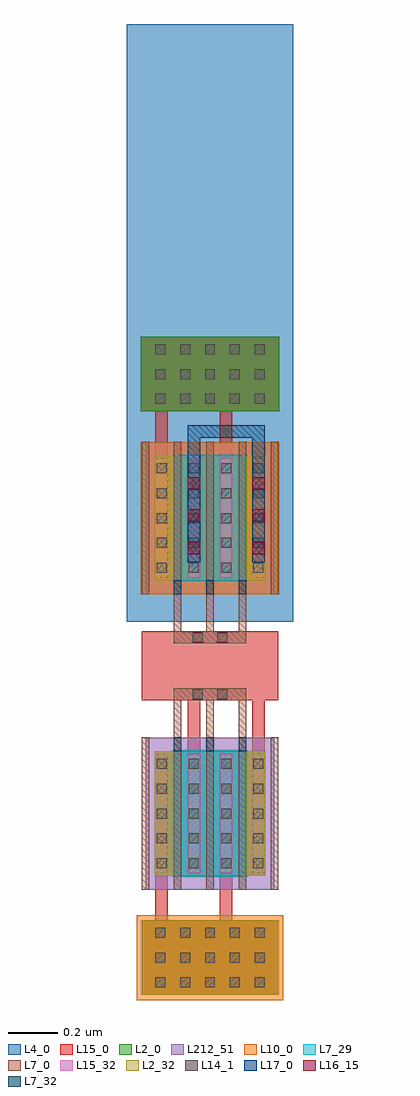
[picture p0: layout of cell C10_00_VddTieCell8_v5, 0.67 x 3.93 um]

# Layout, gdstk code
import gdstk
lib = gdstk.Library(unit=1e-6, precision=1e-09)
def R(c, l, rs):  # rectangles x0, y0, x1, y1
    for r in rs: c.add(gdstk.rectangle(r[:2], r[2:], *l))
def A(c, l, x, y, w, h, nx, ny, dx, dy):  # array of equal rectangles
    R(c, l, [(x+i*dx, y+j*dy, x+i*dx+w, y+j*dy+h) for i in range(nx) for j in range(ny)])
L2_0 = (2, 0)
L2_32 = (2, 32)
L4_0 = (4, 0)
L7_0 = (7, 0)
L7_29 = (7, 29)
L7_32 = (7, 32)
L10_0 = (10, 0)
L14_1 = (14, 1)
L15_0 = (15, 0)
L15_32 = (15, 32)
L16_15 = (16, 15)
L17_0 = (17, 0)
L212_51 = (212, 51)

c10_00_vddtiecell8_v5_sr = lib.new_cell('C10_00_VddTieCell8_v5:SRF_TieCellNMOSRouted:SRF_Nmos:SRF_Gate_ViaM0Mx:SRF_ViaM0M1')
R(c10_00_vddtiecell8_v5_sr, L7_0, [(-0.01,-0.004,0.15,0.044)])
R(c10_00_vddtiecell8_v5_sr, L14_1, [(0,0,0.04,0.04), (0.1,0,0.14,0.04)])
R(c10_00_vddtiecell8_v5_sr, L15_0, [(-0.021,-0.005,0.161,0.045)])

c_c10_00_vddtiecell8_v5_sr = lib.new_cell('C10_00_VddTieCell8_v5:SRF_TieCellNMOSRouted:SRF_Nmos:SRF_Gate_ViaM0Mx')
c_c10_00_vddtiecell8_v5_sr.add(gdstk.Reference(c10_00_vddtiecell8_v5_sr, (-0.07,-0.02)))

c_c10_00_vddtiecell8_v5_sr_ = lib.new_cell('C10_00_VddTieCell8_v5:SRF_TieCellNMOSRouted:SRF_Nmos')
R(c_c10_00_vddtiecell8_v5_sr_, L2_0, [(-0.078,0.057,0.368,0.557)])
R(c_c10_00_vddtiecell8_v5_sr_, L2_32, [(-0.078,0.057,0,0.557), (0.29,0.057,0.368,0.557)])
A(c_c10_00_vddtiecell8_v5_sr_, L7_0, -0.13, 0, 0.03, 0.614, 5, 1, 0.13, 0)
A(c_c10_00_vddtiecell8_v5_sr_, L7_0, 0, 0.614, 0.03, 0.15, 3, 1, 0.13, 0)
R(c_c10_00_vddtiecell8_v5_sr_, L7_0, [(0,0.764,0.29,0.812)])
R(c_c10_00_vddtiecell8_v5_sr_, L7_29, [(-0.005,0.052,0.295,0.562)])
A(c_c10_00_vddtiecell8_v5_sr_, L7_32, 0, 0.557, 0.03, 0.057, 3, 1, 0.13, 0)
A(c_c10_00_vddtiecell8_v5_sr_, L14_1, -0.07, 0.087, 0.04, 0.04, 4, 5, 0.13, 0.1)
R(c_c10_00_vddtiecell8_v5_sr_, L15_0, [(-0.075,0.066,-0.025,0.548), (-0.075,0.066,-0.025,0.548), (0.055,0.066,0.105,0.548), (0.055,0.066,0.105,0.548), (0.185,0.066,0.235,0.548), (0.185,0.066,0.235,0.548), (0.315,0.066,0.365,0.548), (0.315,0.066,0.365,0.548), (0,0.763,0.29,0.813)])
A(c_c10_00_vddtiecell8_v5_sr_, L15_32, -0.075, 0.066, 0.05, 0.482, 4, 1, 0.13, 0)
R(c_c10_00_vddtiecell8_v5_sr_, L212_51, [(-0.113,0.001,0.403,0.613)])
c_c10_00_vddtiecell8_v5_sr_.add(gdstk.Reference(c_c10_00_vddtiecell8_v5_sr, (0.145,0.788)))

c_c10_00_vddtiecell8_v5_sr__ = lib.new_cell('C10_00_VddTieCell8_v5:SRF_TieCellNMOSRouted')
c_c10_00_vddtiecell8_v5_sr__.add(gdstk.Reference(c_c10_00_vddtiecell8_v5_sr_, (0,0)))

c_c10_00_vddtiecell8_v5_sr___ = lib.new_cell('C10_00_VddTieCell8_v5:SRF_TieCellPMOSRouted:SRF_Pmos:SRF_Drain_ViaM1M2:SRF_ViaM1M2')
R(c_c10_00_vddtiecell8_v5_sr___, L15_0, [(0,-0.292,0.05,0.082)])
A(c_c10_00_vddtiecell8_v5_sr___, L16_15, 0, -0.26, 0.05, 0.05, 1, 3, 0, 0.13)
R(c_c10_00_vddtiecell8_v5_sr___, L17_0, [(0,-0.292,0.05,0.082)])

c_c10_00_vddtiecell8_v5_sr____ = lib.new_cell('C10_00_VddTieCell8_v5:SRF_TieCellPMOSRouted:SRF_Pmos:SRF_Drain_ViaM1M2')
c_c10_00_vddtiecell8_v5_sr____.add(gdstk.Reference(c_c10_00_vddtiecell8_v5_sr___, (-0.025,0.105)))

c_c10_00_vddtiecell8_v5_sr_____ = lib.new_cell('C10_00_VddTieCell8_v5:SRF_TieCellPMOSRouted:SRF_Pmos:SRF_Gate_ViaM0Mx:SRF_ViaM0M1')
R(c_c10_00_vddtiecell8_v5_sr_____, L7_0, [(-0.01,-0.004,0.15,0.044)])
R(c_c10_00_vddtiecell8_v5_sr_____, L14_1, [(0,0,0.04,0.04), (0.1,0,0.14,0.04)])
R(c_c10_00_vddtiecell8_v5_sr_____, L15_0, [(-0.021,-0.005,0.161,0.045)])

c_c10_00_vddtiecell8_v5_sr______ = lib.new_cell('C10_00_VddTieCell8_v5:SRF_TieCellPMOSRouted:SRF_Pmos:SRF_Gate_ViaM0Mx')
c_c10_00_vddtiecell8_v5_sr______.add(gdstk.Reference(c_c10_00_vddtiecell8_v5_sr_____, (-0.07,-0.02)))

c_c10_00_vddtiecell8_v5_sr_______ = lib.new_cell('C10_00_VddTieCell8_v5:SRF_TieCellPMOSRouted:SRF_Pmos')
R(c_c10_00_vddtiecell8_v5_sr_______, L2_0, [(-0.078,0.057,0.368,0.557)])
R(c_c10_00_vddtiecell8_v5_sr_______, L2_32, [(-0.078,0.057,0,0.557), (0.29,0.057,0.368,0.557)])
A(c_c10_00_vddtiecell8_v5_sr_______, L7_0, 0, -0.15, 0.03, 0.15, 3, 1, 0.13, 0)
A(c_c10_00_vddtiecell8_v5_sr_______, L7_0, -0.13, 0, 0.03, 0.614, 5, 1, 0.13, 0)
R(c_c10_00_vddtiecell8_v5_sr_______, L7_0, [(0,-0.198,0.29,-0.15)])
R(c_c10_00_vddtiecell8_v5_sr_______, L7_29, [(-0.005,0.052,0.295,0.562)])
A(c_c10_00_vddtiecell8_v5_sr_______, L7_32, 0, 0, 0.03, 0.057, 3, 1, 0.13, 0)
R(c_c10_00_vddtiecell8_v5_sr_______, L10_0, [(-0.134,0.001,0.424,0.613)])
A(c_c10_00_vddtiecell8_v5_sr_______, L14_1, -0.07, 0.087, 0.04, 0.04, 4, 5, 0.13, 0.1)
R(c_c10_00_vddtiecell8_v5_sr_______, L15_0, [(0,-0.199,0.29,-0.149), (-0.075,0.066,-0.025,0.548), (-0.075,0.066,-0.025,0.548), (0.055,0.066,0.105,0.548), (0.055,0.066,0.105,0.548), (0.185,0.066,0.235,0.548), (0.185,0.066,0.235,0.548), (0.315,0.066,0.365,0.548), (0.315,0.066,0.365,0.548)])
A(c_c10_00_vddtiecell8_v5_sr_______, L15_32, -0.075, 0.066, 0.05, 0.482, 4, 1, 0.13, 0)
R(c_c10_00_vddtiecell8_v5_sr_______, L17_0, [(0.055,0.13,0.105,0.63), (0.315,0.13,0.365,0.63), (0.055,0.63,0.365,0.68)])
R(c_c10_00_vddtiecell8_v5_sr_______, L212_51, [(-0.113,0.001,0.403,0.613)])
c_c10_00_vddtiecell8_v5_sr_______.add(gdstk.Reference(c_c10_00_vddtiecell8_v5_sr____, (0.08,0.317)))
c_c10_00_vddtiecell8_v5_sr_______.add(gdstk.Reference(c_c10_00_vddtiecell8_v5_sr____, (0.34,0.317)))
c_c10_00_vddtiecell8_v5_sr_______.add(gdstk.Reference(c_c10_00_vddtiecell8_v5_sr______, (0.145,-0.174)))

c_c10_00_vddtiecell8_v5_sr________ = lib.new_cell('C10_00_VddTieCell8_v5:SRF_TieCellPMOSRouted')
c_c10_00_vddtiecell8_v5_sr________.add(gdstk.Reference(c_c10_00_vddtiecell8_v5_sr_______, (0,0)))

c_c10_00_vddtiecell8_v5_sr_________ = lib.new_cell('C10_00_VddTieCell8_v5:SRF_PMOS_Body_Contact:SRF_NbodyContactPhyLen')
R(c_c10_00_vddtiecell8_v5_sr_________, L2_0, [(-0.059,-0.23,0.499,0.07)])
R(c_c10_00_vddtiecell8_v5_sr_________, L4_0, [(-0.115,-0.286,0.555,0.126)])
A(c_c10_00_vddtiecell8_v5_sr_________, L14_1, 0, -0.2, 0.04, 0.04, 5, 3, 0.1, 0.1)
R(c_c10_00_vddtiecell8_v5_sr_________, L15_0, [(-0.059,-0.23,0.499,0.07)])

c_c10_00_vddtiecell8_v5_sr__________ = lib.new_cell('C10_00_VddTieCell8_v5:SRF_PMOS_Body_Contact')
c_c10_00_vddtiecell8_v5_sr__________.add(gdstk.Reference(c_c10_00_vddtiecell8_v5_sr_________, (0,0)))

c_c10_00_vddtiecell8_v5_sr___________ = lib.new_cell('C10_00_VddTieCell8_v5:SRF_NMOS_Body_Contact:SRF_PbodyContactPhyLen')
R(c_c10_00_vddtiecell8_v5_sr___________, L2_0, [(-0.055,-0.23,0.495,0.07)])
R(c_c10_00_vddtiecell8_v5_sr___________, L10_0, [(-0.076,-0.251,0.516,0.091)])
A(c_c10_00_vddtiecell8_v5_sr___________, L14_1, 0, -0.2, 0.04, 0.04, 5, 3, 0.1, 0.1)
R(c_c10_00_vddtiecell8_v5_sr___________, L15_0, [(-0.055,-0.23,0.495,0.07)])

c_c10_00_vddtiecell8_v5_sr____________ = lib.new_cell('C10_00_VddTieCell8_v5:SRF_NMOS_Body_Contact')
c_c10_00_vddtiecell8_v5_sr____________.add(gdstk.Reference(c_c10_00_vddtiecell8_v5_sr___________, (0,0)))

c10_00_vddtiecell8_v5 = lib.new_cell('C10_00_VddTieCell8_v5')
R(c10_00_vddtiecell8_v5, L4_0, [(-0.19,1.079,0.48,1.871), (-0.19,1.079,0.48,3.487)])
R(c10_00_vddtiecell8_v5, L15_0, [(-0.075,-0.123,-0.025,0.066), (0.185,-0.123,0.235,0.066), (0.055,0.548,0.105,0.763), (0.315,0.548,0.365,0.763), (-0.075,1.738,-0.025,1.927), (0.185,1.738,0.235,1.927)])
c10_00_vddtiecell8_v5.add(gdstk.FlexPath([(0.145,1.041),(0.145,0.763)], 0.55, ends="flush", simple_path=True, layer=15, datatype=0))  # L15_0
c10_00_vddtiecell8_v5.add(gdstk.Reference(c_c10_00_vddtiecell8_v5_sr__, (0,0)))
c10_00_vddtiecell8_v5.add(gdstk.Reference(c_c10_00_vddtiecell8_v5_sr________, (0,1.19)))
c10_00_vddtiecell8_v5.add(gdstk.Reference(c_c10_00_vddtiecell8_v5_sr__________, (-0.075,2.157)))
c10_00_vddtiecell8_v5.add(gdstk.Reference(c_c10_00_vddtiecell8_v5_sr____________, (-0.075,-0.193)))

lib.write_gds('C10_00_VddTieCell8_v5.gds')
